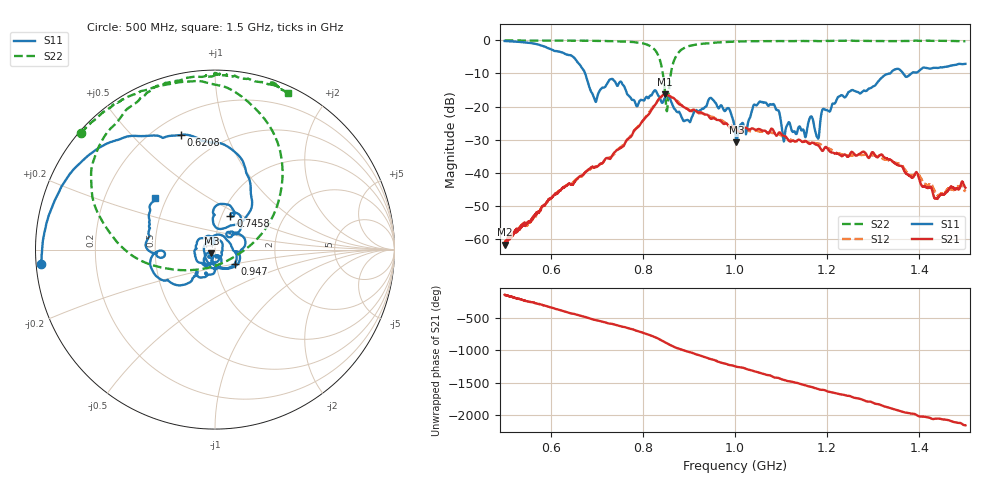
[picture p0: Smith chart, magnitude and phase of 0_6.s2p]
!Agilent Technologies,E8364B,US42250235,A.06.04.32
!Agilent E8364B: A.06.04.32
!Date: Thursday, October 01, 2020 14:04:17
!Correction: S11(Full 2 Port(1,2)) S21(Full 2 Port(1,2)) S12(Full 2 Port(1,2)) S22(Full 2 Port(1,2))
!S2P File: Measurements: S11, S21, S12, S22:
# Hz S  dB  R 50
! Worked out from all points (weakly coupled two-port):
!   2650 points, 500 MHz to 1.5 GHz, reference 50 ohm
!   highest |S21| = -16.27 dB at 848.1 MHz (marker M1); lowest = -61.6 dB at 500 MHz (marker M2)
!   lowest |S11| = -30.7 dB at 1.003 GHz (marker M3), VSWR 1.06, Z = 48 - j2.04 ohm
!   |S11| at or under -10 dB: 674.8 MHz to 1.337 GHz (662.3 MHz wide, 65.8 % of centre); 1.365 GHz to 1.383 GHz (17.73 MHz wide, 1.29 % of centre)
!   |S22| runs from -21.4 to -0.1 dB; largest |S21 - S12| = 0.014
!   S11 on the Smith chart (normalised r, x): 500 MHz: 0.01, -0.04; 620.8 MHz: 0.30, +0.70; 745.8 MHz: 1.10, +0.43; 947 MHz: 1.23, -0.20; 1.5 GHz: 0.43, +0.31
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5e8  -0.25 -175.3  -61.62 -143.8  -61.06 -143.9  -0.10 139.0
5.743677e8  -1.37 137.7  -52.08 72.6  -51.85 82.1  -0.11 130.2
6.208003e8  -3.52 106.7  -45.28 -20.8  -45.32 -14.5  -0.12 125.0
6.668554e8  -8.17 59.3  -40.84 -111.6  -40.98 -106.4  -0.16 121.5
6.963005e8  -18.19 70.5  -38.22 -171.0  -38.16 -164.4  -0.20 118.1
7.457531e8  -13.64 65.6  -32.98 101.2  -32.90 107.9  -0.36 106.7
8.046433e8  -17.69 49.6  -23.47 -20.4  -23.47 -14.9  -1.12 81.9
8.337108e8  -16.73 -0.6  -17.87 -100.1  -17.98 -98.0  -4.69 49.8
8.480559e8  -17.26 -10.6  -16.27 -156.0  -16.20 -152.5  -15.62 -0.5
8.80521e8  -22.09 -124.2  -19.44 100.9  -19.16 100.7  -3.25 162.3
9.469611e8  -17.39 -35.9  -23.63 -52.7  -23.03 -47.0  -0.87 125.5
1.000189e9  -27.48 -155.2  -26.47 -165.8  -26.28 -156.6  -0.42 113.3
1.003209e9  -30.75 -132.9  -26.94 -171.9  -26.57 -161.9  -0.42 113.0
1.055681e9  -18.54 -153.0  -26.96 89.9  -27.55 102.1  -0.30 110.6
1.090034e9  -21.05 134.8  -28.81 20.1  -28.51 31.4  -0.29 106.9
1.106267e9  -30.49 110.1  -28.89 -14.5  -29.33 -0.9  -0.30 104.6
1.166667e9  -23.12 -95.3  -30.89 -123.3  -30.90 -111.8  -0.28 93.2
1.178747e9  -29.35 -89.6  -31.62 -150.4  -31.15 -136.8  -0.28 92.9
1.192337e9  -20.69 -83.0  -32.97 -168.4  -32.14 -166.4  -0.23 90.1
1.333522e9  -10.10 -146.5  -35.88 -80.7  -36.20 -72.6  -0.28 79.2
1.436202e9  -8.34 162.9  -47.63 109.4  -45.99 94.5  -0.19 70.0
1.5e9  -7.15 139.5  -44.47 5.4  -45.51 -4.4  -0.33 64.9
